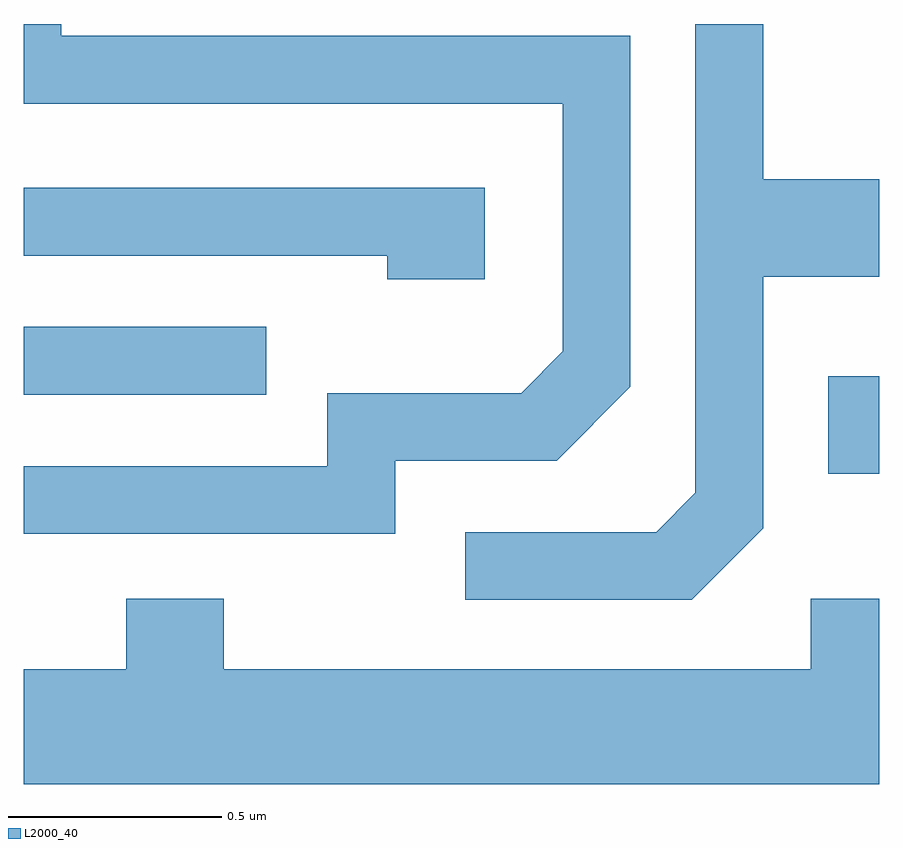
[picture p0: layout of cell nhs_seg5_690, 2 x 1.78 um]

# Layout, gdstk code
import gdstk
lib = gdstk.Library(unit=1e-6, precision=1e-09)
def R(c, l, rs):  # rectangles x0, y0, x1, y1
    for r in rs: c.add(gdstk.rectangle(r[:2], r[2:], *l))
def P(c, l, *ps):  # polygons
    for p in ps: c.add(gdstk.Polygon(p, *l))
L2000_40 = (2000, 40)

nhs_seg5_690 = lib.new_cell('nhs_seg5_690')
R(nhs_seg5_690, L2000_40, [(192.491,1402.021,192.611,1402.249), (190.611,1402.206,191.178,1402.364)])
P(nhs_seg5_690, L2000_40, [(192.339,1401.894),(192.339,1402.481),(192.611,1402.481),(192.611,1402.709),(192.339,1402.709),(192.339,1403.072),(192.181,1403.072),(192.181,1401.977),(192.089,1401.884),(191.643,1401.884),(191.643,1401.726),(192.172,1401.726)],
  [(191.479,1402.051),(191.857,1402.051),(192.029,1402.224),(192.029,1403.044),(190.699,1403.044),(190.699,1403.072),(190.611,1403.072),(190.611,1402.886),(191.871,1402.886),(191.871,1402.307),(191.774,1402.209),(191.321,1402.209),(191.321,1402.039),(190.611,1402.039),(190.611,1401.881),(191.479,1401.881)],
  [(191.689,1402.689),(190.611,1402.689),(190.611,1402.531),(191.461,1402.531),(191.461,1402.476),(191.689,1402.476)],
  [(192.611,1401.729),(192.451,1401.729),(192.451,1401.564),(191.079,1401.564),(191.079,1401.729),(190.851,1401.729),(190.851,1401.564),(190.611,1401.564),(190.611,1401.296),(192.611,1401.296)])

lib.write_gds('nhs_seg5_690.gds')
